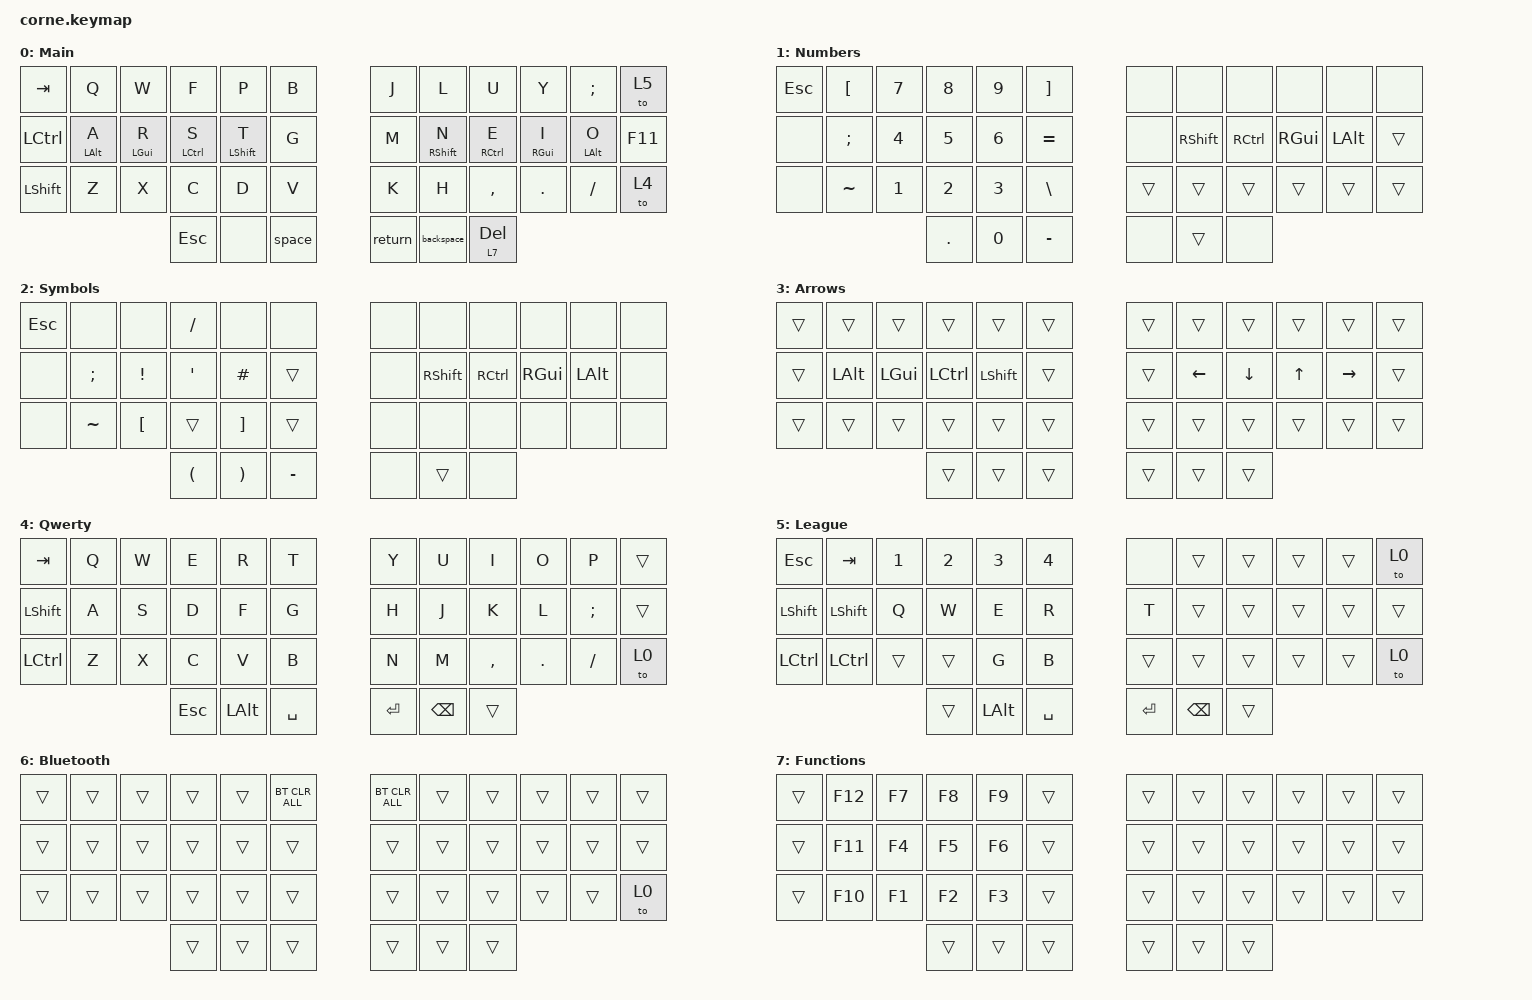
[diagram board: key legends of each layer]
#include <behaviors.dtsi>
#include <dt-bindings/zmk/bt.h>
#include <dt-bindings/zmk/keys.h>

/ {
    behaviors {
        return: return {
            compatible = "zmk,behavior-tap-dance";
            label = "RETURN";
            #binding-cells = <0>;
            bindings = <&lt 1 RETURN>, <&kp RETURN>;

            tapping-term-ms = <170>;
        };

        backspace: backspace {
            compatible = "zmk,behavior-tap-dance";
            label = "BACKSPACE";
            #binding-cells = <0>;
            bindings = <&lt 2 BACKSPACE>, <&kp BACKSPACE>;

            tapping-term-ms = <170>;
        };

        space: space {
            compatible = "zmk,behavior-tap-dance";
            label = "SPACE";
            #binding-cells = <0>;
            bindings = <&lt 3 SPACE>, <&kp SPACE>;

            tapping-term-ms = <170>;
        };

        s: s {
            compatible = "zmk,behavior-tap-dance";
            label = "S";
            #binding-cells = <0>;
            bindings = <&mt LEFT_CONTROL S>, <&kp S>;
        };

        t: t {
            compatible = "zmk,behavior-tap-dance";
            label = "T";
            #binding-cells = <0>;
            bindings = <&mt LEFT_SHIFT T>, <&kp T>;
        };

        r: r {
            compatible = "zmk,behavior-tap-dance";
            label = "R";
            #binding-cells = <0>;
            bindings = <&mt LEFT_GUI R>, <&kp R>;
        };

        a: a {
            compatible = "zmk,behavior-tap-dance";
            label = "A";
            #binding-cells = <0>;
            bindings = <&mt LEFT_ALT A>, <&kp A>;
        };

        n: n {
            compatible = "zmk,behavior-tap-dance";
            label = "N";
            #binding-cells = <0>;
            bindings = <&mt RIGHT_SHIFT N>, <&kp N>;
        };

        e: e {
            compatible = "zmk,behavior-tap-dance";
            label = "E";
            #binding-cells = <0>;
            bindings = <&mt RIGHT_CONTROL E>, <&kp E>;
        };

        i: i {
            compatible = "zmk,behavior-tap-dance";
            label = "I";
            #binding-cells = <0>;
            bindings = <&mt RIGHT_GUI I>, <&kp I>;
        };

        o: o {
            compatible = "zmk,behavior-tap-dance";
            label = "O";
            #binding-cells = <0>;
            bindings = <&mt LEFT_ALT O>, <&kp O>;
        };
    };

    keymap {
        compatible = "zmk,keymap";

        Main {
            // -----------------------------------------------------------------------------------------
            // |  TAB |  Q  |  W  |  E  |  R  |  T  |   |  Y  |  U   |  I  |  O  |  P  | BSPC |
            // | CTRL |  A  |  S  |  D  |  F  |  G  |   |  H  |  J   |  K  |  L  |  ;  |  '   |
            // | SHFT |  Z  |  X  |  C  |  V  |  B  |   |  N  |  M   |  ,  |  .  |  /  | ESC  |
            //                    | GUI | LWR | SPC |   | ENT | RSE  | ALT |

            bindings = <
&kp TAB    &kp Q           &kp W           &kp F               &kp P             &kp B     &kp J    &kp L              &kp U                &kp Y            &kp SEMI        &to 5
&kp LCTRL  &mt LEFT_ALT A  &mt LEFT_GUI R  &mt LEFT_CONTROL S  &mt LEFT_SHIFT T  &kp G     &kp M    &mt RIGHT_SHIFT N  &mt RIGHT_CONTROL E  &mt RIGHT_GUI I  &mt LEFT_ALT O  &kp F11
&kp LSHFT  &kp Z           &kp X           &kp C               &kp D             &kp V     &kp K    &kp H              &kp COMMA            &kp DOT          &kp FSLH        &to 4
                                           &kp ESCAPE          &none             &space    &return  &backspace         &lt 7 DELETE
            >;
        };

        Numbers {
            // -----------------------------------------------------------------------------------------
            // |  TAB |  1  |  2  |  3  |  4  |  5  |   |  6  |  7  |  8  |  9  |  0  | BSPC |
            // | BTCLR| BT1 | BT2 | BT3 | BT4 | BT5 |   | LFT | DWN |  UP | RGT |     |      |
            // | SHFT |     |     |     |     |     |   |     |     |     |     |     |      |
            //                    | GUI |     | SPC |   | ENT |     | ALT |

            bindings = <
&kp ESCAPE  &kp LEFT_BRACKET  &kp N7        &kp N8        &kp N9        &kp RIGHT_BRACKET    &none   &none            &none              &none          &none         &none
&none       &kp SEMI          &kp NUMBER_4  &kp N5        &kp NUMBER_6  &kp EQUAL            &none   &kp RIGHT_SHIFT  &kp RIGHT_CONTROL  &kp RIGHT_GUI  &kp LEFT_ALT  &trans
&none       &kp TILDE         &kp NUMBER_1  &kp NUMBER_2  &kp NUMBER_3  &kp BACKSLASH        &trans  &trans           &trans             &trans         &trans        &trans
                                            &kp PERIOD    &kp N0        &kp MINUS            &none   &trans           &none
            >;
        };

        Symbols {
            // -----------------------------------------------------------------------------------------
            // |  TAB |  !  |  @  |  #  |  $  |  %  |   |  ^  |  &  |  *  |  (  |  )  | BSPC |
            // | CTRL |     |     |     |     |     |   |  -  |  =  |  [  |  ]  |  \  |  `   |
            // | SHFT |     |     |     |     |     |   |  _  |  +  |  {  |  }  | "|" |  ~   |
            //                    | GUI |     | SPC |   | ENT |     | ALT |

            bindings = <
&kp ESCAPE  &none      &none             &kp SLASH             &none                  &none        &none  &none            &none              &none          &none         &none
&none       &kp SEMI   &kp EXCL          &kp SQT               &kp HASH               &trans       &none  &kp RIGHT_SHIFT  &kp RIGHT_CONTROL  &kp RIGHT_GUI  &kp LEFT_ALT  &none
&none       &kp TILDE  &kp LEFT_BRACKET  &trans                &kp RIGHT_BRACKET      &trans       &none  &none            &none              &none          &none         &none
                                         &kp LEFT_PARENTHESIS  &kp RIGHT_PARENTHESIS  &kp MINUS    &none  &trans           &none
            >;
        };

        Arrows {
            bindings = <
&trans  &trans        &trans        &trans            &trans          &trans    &trans  &trans          &trans          &trans        &trans           &trans
&trans  &kp LEFT_ALT  &kp LEFT_GUI  &kp LEFT_CONTROL  &kp LEFT_SHIFT  &trans    &trans  &kp LEFT_ARROW  &kp DOWN_ARROW  &kp UP_ARROW  &kp RIGHT_ARROW  &trans
&trans  &trans        &trans        &trans            &trans          &trans    &trans  &trans          &trans          &trans        &trans           &trans
                                    &trans            &trans          &trans    &trans  &trans          &trans
            >;
        };

        Qwerty {
            bindings = <
&kp TAB           &kp Q  &kp W  &kp E       &kp R         &kp T        &kp Y    &kp U          &kp I      &kp O       &kp P          &trans
&kp LEFT_SHIFT    &kp A  &kp S  &kp D       &kp F         &kp G        &kp H    &kp J          &kp K      &kp L       &kp SEMICOLON  &trans
&kp LEFT_CONTROL  &kp Z  &kp X  &kp C       &kp V         &kp B        &kp N    &kp M          &kp COMMA  &kp PERIOD  &kp SLASH      &to 0
                                &kp ESCAPE  &kp LEFT_ALT  &kp SPACE    &kp RET  &kp BACKSPACE  &trans
            >;
        };

        League {
            bindings = <
&kp ESCAPE        &kp TAB           &kp NUMBER_1  &kp NUMBER_2  &kp NUMBER_3  &kp NUMBER_4    &none      &trans         &trans  &trans  &trans  &to 0
&kp LEFT_SHIFT    &kp LEFT_SHIFT    &kp Q         &kp W         &kp E         &kp R           &kp T      &trans         &trans  &trans  &trans  &trans
&kp LEFT_CONTROL  &kp LEFT_CONTROL  &trans        &trans        &kp G         &kp B           &trans     &trans         &trans  &trans  &trans  &to 0
                                                  &trans        &kp LEFT_ALT  &kp SPACE       &kp ENTER  &kp BACKSPACE  &trans
            >;
        };

        Bluetooth {
            bindings = <
&trans  &trans  &trans  &trans  &trans  &bt BT_CLR_ALL    &bt BT_CLR_ALL  &trans  &trans  &trans  &trans  &trans
&trans  &trans  &trans  &trans  &trans  &trans            &trans          &trans  &trans  &trans  &trans  &trans
&trans  &trans  &trans  &trans  &trans  &trans            &trans          &trans  &trans  &trans  &trans  &to 0
                        &trans  &trans  &trans            &trans          &trans  &trans
            >;
        };

        Functions {
            bindings = <
&trans  &kp F12  &kp F7  &kp F8  &kp F9  &trans    &trans  &trans  &trans  &trans  &trans  &trans
&trans  &kp F11  &kp F4  &kp F5  &kp F6  &trans    &trans  &trans  &trans  &trans  &trans  &trans
&trans  &kp F10  &kp F1  &kp F2  &kp F3  &trans    &trans  &trans  &trans  &trans  &trans  &trans
                         &trans  &trans  &trans    &trans  &trans  &trans
            >;
        };
    };
};
